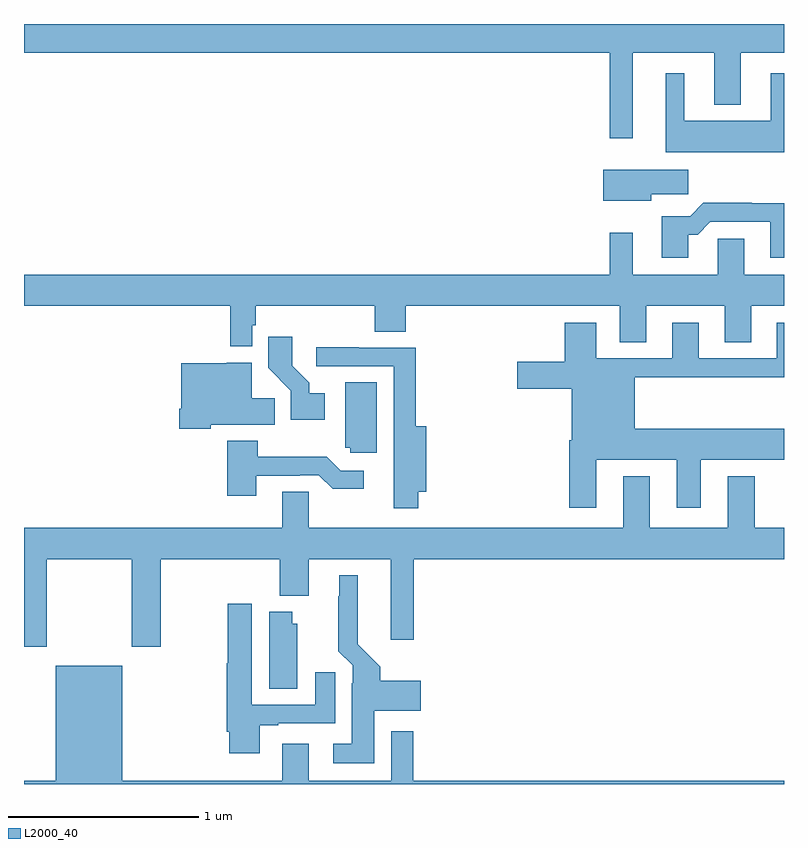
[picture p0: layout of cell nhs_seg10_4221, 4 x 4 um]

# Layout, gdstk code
import gdstk
lib = gdstk.Library(unit=1e-6, precision=1e-09)
def P(c, l, *ps):  # polygons
    for p in ps: c.add(gdstk.Polygon(p, *l))
L2000_40 = (2000, 40)

nhs_seg10_4221 = lib.new_cell('nhs_seg10_4221')
P(nhs_seg10_4221, L2000_40, [(350.203,1268.348),(350.633,1268.348),(350.633,1268.075),(350.773,1268.075),(350.773,1268.348),(351,1268.348),(351,1268.5),(347,1268.5),(347,1268.348),(350.082,1268.348),(350.082,1267.899),(350.203,1267.899)],
  [(351,1268.242),(350.93,1268.242),(350.93,1267.99),(350.476,1267.99),(350.476,1268.242),(350.378,1268.242),(350.378,1267.826),(351,1267.826)],
  [(350.302,1267.603),(350.497,1267.603),(350.497,1267.732),(350.048,1267.732),(350.048,1267.571),(350.302,1267.571)],
  [(350.497,1267.391),(350.546,1267.391),(350.613,1267.458),(350.927,1267.458),(350.927,1267.269),(351,1267.269),(351,1267.556),(350.831,1267.556),(350.831,1267.559),(350.576,1267.559),(350.506,1267.489),(350.357,1267.489),(350.357,1267.269),(350.497,1267.269)],
  [(348.201,1266.915),(348.221,1266.915),(348.221,1267.016),(348.845,1267.016),(348.845,1266.88),(349.01,1266.88),(349.01,1267.016),(350.135,1267.016),(350.135,1266.826),(350.275,1266.826),(350.275,1267.016),(350.687,1267.016),(350.687,1266.826),(350.827,1266.826),(350.827,1267.016),(351,1267.016),(351,1267.18),(350.791,1267.18),(350.791,1267.37),(350.652,1267.37),(350.652,1267.18),(350.203,1267.18),(350.203,1267.402),(350.082,1267.402),(350.082,1267.18),(347,1267.18),(347,1267.016),(348.085,1267.016),(348.085,1266.803),(348.201,1266.803)],
  [(350.011,1266.206),(350.435,1266.206),(350.435,1265.955),(350.563,1265.955),(350.563,1266.206),(351,1266.206),(351,1266.37),(350.215,1266.37),(350.215,1266.64),(351,1266.64),(351,1266.928),(350.963,1266.928),(350.963,1266.741),(350.551,1266.741),(350.551,1266.928),(350.411,1266.928),(350.411,1266.741),(350.011,1266.741),(350.011,1266.928),(349.847,1266.928),(349.847,1266.723),(349.596,1266.723),(349.596,1266.581),(349.883,1266.581),(349.883,1266.31),(349.871,1266.31),(349.871,1265.955),(350.011,1265.955)],
  [(348.583,1266.556),(348.502,1266.556),(348.502,1266.611),(348.412,1266.701),(348.412,1266.853),(348.286,1266.853),(348.286,1266.69),(348.405,1266.571),(348.405,1266.416),(348.583,1266.416)],
  [(349.074,1266.038),(349.117,1266.038),(349.117,1266.382),(349.061,1266.382),(349.061,1266.795),(348.761,1266.795),(348.761,1266.798),(348.537,1266.798),(348.537,1266.699),(348.945,1266.699),(348.945,1265.952),(349.074,1265.952)],
  [(347.982,1266.392),(348.32,1266.392),(348.32,1266.53),(348.199,1266.53),(348.199,1266.718),(348.066,1266.718),(348.066,1266.715),(347.828,1266.715),(347.828,1266.475),(347.816,1266.475),(347.816,1266.371),(347.982,1266.371)],
  [(348.856,1266.614),(348.692,1266.614),(348.692,1266.27),(348.717,1266.27),(348.717,1266.243),(348.856,1266.243)],
  [(348.223,1266.123),(348.452,1266.123),(348.452,1266.126),(348.552,1266.126),(348.625,1266.053),(348.787,1266.053),(348.787,1266.15),(348.666,1266.15),(348.593,1266.223),(348.231,1266.223),(348.231,1266.307),(348.071,1266.307),(348.071,1266.018),(348.223,1266.018)],
  [(351,1265.848),(350.845,1265.848),(350.845,1266.121),(350.705,1266.121),(350.705,1265.848),(350.293,1265.848),(350.293,1266.121),(350.153,1266.121),(350.153,1265.848),(348.498,1265.848),(348.498,1266.038),(348.359,1266.038),(348.359,1265.848),(347,1265.848),(347,1265.223),(347.121,1265.223),(347.121,1265.684),(347.566,1265.684),(347.566,1265.223),(347.721,1265.223),(347.721,1265.684),(348.347,1265.684),(348.347,1265.492),(348.499,1265.492),(348.499,1265.684),(348.929,1265.684),(348.929,1265.259),(349.052,1265.259),(349.052,1265.684),(351,1265.684)],
  [(348.844,1264.886),(349.087,1264.886),(349.087,1265.044),(348.875,1265.044),(348.875,1265.118),(348.757,1265.236),(348.757,1265.599),(348.659,1265.599),(348.659,1265.489),(348.655,1265.489),(348.655,1265.198),(348.729,1265.124),(348.729,1265.03),(348.725,1265.03),(348.725,1264.711),(348.627,1264.711),(348.627,1264.61),(348.844,1264.61)],
  [(348.241,1264.809),(348.337,1264.809),(348.337,1264.821),(348.637,1264.821),(348.637,1265.089),(348.533,1265.089),(348.533,1264.917),(348.199,1264.917),(348.199,1265.449),(348.073,1265.449),(348.073,1265.136),(348.068,1265.136),(348.068,1264.774),(348.08,1264.774),(348.08,1264.662),(348.241,1264.662)],
  [(348.439,1265.343),(348.412,1265.343),(348.412,1265.407),(348.29,1265.407),(348.29,1265.002),(348.439,1265.002)],
  [(351,1264.516),(349.049,1264.516),(349.049,1264.777),(348.933,1264.777),(348.933,1264.516),(348.499,1264.516),(348.499,1264.711),(348.359,1264.711),(348.359,1264.516),(347.518,1264.516),(347.518,1265.122),(347.168,1265.122),(347.168,1264.516),(347,1264.516),(347,1264.5),(351,1264.5)])

lib.write_gds('nhs_seg10_4221.gds')
